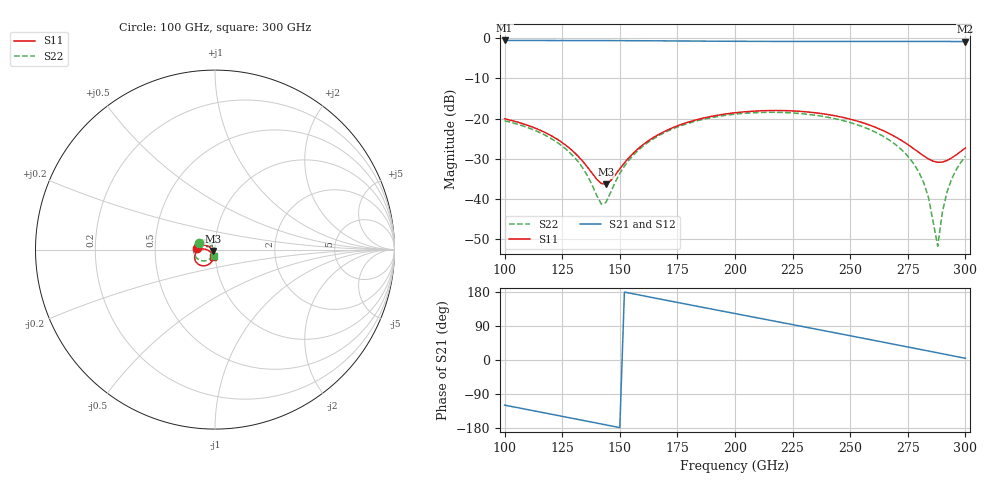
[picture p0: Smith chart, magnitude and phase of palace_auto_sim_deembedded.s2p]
! Created with skrf 1.11.0 (http://scikit-rf.org).
# GHz S DB R 50.0
!freq dBS11 angS11 dBS21 angS21 dBS12 angS12 dBS22 angS22
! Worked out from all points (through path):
!   101 points, 100 GHz to 300 GHz, reference 50 ohm
!   highest |S21| = -0.55 dB at 100 GHz (marker M1); lowest = -0.8 dB at 300 GHz (marker M2)
!   group delay of S21, straight-line fit = 3.28 ps
!   lowest |S11| = -36.3 dB at 144 GHz (marker M3), VSWR 1.03, Z = 48.7 - j0.805 ohm
!   |S11| at or under -10 dB: start of sweep to end of sweep
!   |S22| runs from -51.8 to -18.4 dB; largest |S21 - S12| = 1.1e-14
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100  -20.05 173.8  -0.55 -119.2  -0.55 -119.2  -20.53 158.7
120  -24.19 156.7  -0.56 -142.8  -0.56 -142.8  -24.90 136.4
134  -30.69 157.9  -0.57 -159.4  -0.57 -159.4  -32.37 130.5
142  -36.16 -165.3  -0.58 -168.9  -0.58 -168.9  -41.29 177.2
144  -36.31 -147.3  -0.59 -171.3  -0.59 -171.3  -40.86 -151.0
150  -32.50 -111.1  -0.60 -178.4  -0.60 -178.4  -33.64 -114.3
154  -29.71 -103.4  -0.61 176.8  -0.61 176.8  -30.31 -111.6
168  -23.60 -104.6  -0.65 160.2  -0.65 160.2  -23.91 -121.0
182  -20.50 -115.5  -0.70 143.7  -0.70 143.7  -20.79 -136.4
200  -18.55 -131.7  -0.76 122.6  -0.76 122.6  -18.90 -157.2
218  -17.99 -147.9  -0.79 101.6  -0.79 101.6  -18.45 -178.0
234  -18.50 -162.0  -0.79 82.8  -0.79 82.8  -19.10 163.3
254  -20.78 -177.5  -0.79 59.3  -0.79 59.3  -21.73 139.7
268  -24.04 177.1  -0.79 42.7  -0.79 42.7  -25.75 123.6
276  -26.86 -179.3  -0.79 33.2  -0.79 33.2  -30.03 115.5
282  -29.31 -168.0  -0.80 26.0  -0.80 26.0  -36.10 112.5
284  -30.04 -161.5  -0.80 23.6  -0.80 23.6  -39.70 114.7
288  -30.88 -144.6  -0.80 18.8  -0.80 18.8  -51.76 -153.6
290  -30.83 -135.3  -0.80 16.5  -0.80 16.5  -43.30 -107.1
292  -30.45 -126.4  -0.81 14.1  -0.81 14.1  -38.31 -100.3
296  -29.03 -112.7  -0.81 9.3  -0.81 9.3  -32.75 -99.8
300  -27.32 -104.6  -0.82 4.5  -0.82 4.5  -29.40 -102.9
